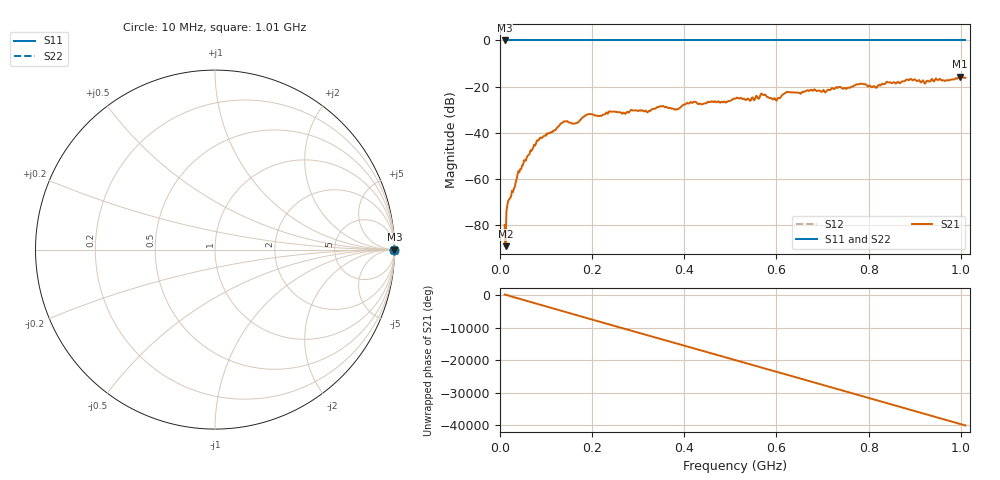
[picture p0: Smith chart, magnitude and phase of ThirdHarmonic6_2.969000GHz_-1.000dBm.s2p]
! 8/17/2025 8:24:07 AM
! C:\ANRITSUVNA\TEMP\TEMP.S2P
! CHANNEL.1
! TR.MEASUREMENT
! RAW.DATA
! RF.CORRECTION.OFF
! AVERAGING.OFF
! IF.BANDWIDTH: 5KHZ
! SWEEPTYPE:  FREQ.SWEEP(Linear)
! Reference Plane Port Info
! PORT:  PORT1  PORT2
! DISTANCE:  0  m  0  m
! TIME:  0  s  0  s
! PHASE.OFFSET:  0  deg.  0  deg.
! LOSS:  0  dB  0  dB
! REF.LOSS:  0  dB  0  dB
! REF.FREQ:  0  Hz  0  Hz
! Power Info
! POWER:  -20  dBm  -20  dBm
! EFF.POWER:  -20  dBm  -20  dBm
! SOURCE.ATTEN:  0  dB  0  dB
! TEST.ATTEN:  0  dB  0  dB
# GHZ S RI R 50.0
! FREQ.GHZ  S11RE  S11IM  S21RE  S21IM  S12RE  S12IM  S22RE  S22IM
!; PortSelection: Port_12
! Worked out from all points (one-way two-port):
!   501 points, 10 MHz to 1.01 GHz, reference 50 ohm
!   highest |S21| = -15.71 dB at 998 MHz (marker M1); lowest = -89.2 dB at 12 MHz (marker M2)
!   lowest |S11| = 0.0 dB at 10 MHz (marker M3)
!   |S11| at or under -10 dB: nowhere
!   |S22| runs from 0.0 to 0.0 dB; largest |S21 - S12| = 1.1
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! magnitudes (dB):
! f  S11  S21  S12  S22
! 10 MHz  0.0  -79.9  0.0  0.0
! 12 MHz  0.0  -89.2  0.0  0.0
! 18 MHz  0.0  -69.4  0.0  0.0
! 40 MHz  0.0  -56.6  0.0  0.0
! 84 MHz  0.0  -43.2  0.0  0.0
! 136 MHz  0.0  -35.6  0.0  0.0
! 164 MHz  0.0  -35.9  0.0  0.0
! 178 MHz  0.0  -33.6  0.0  0.0
! 344 MHz  0.0  -28.9  0.0  0.0
! 382 MHz  0.0  -29.8  0.0  0.0
! 410 MHz  0.0  -27.3  0.0  0.0
! 510 MHz  0.0  -25.2  0.0  0.0
! 548 MHz  0.0  -24.7  0.0  0.0
! 570 MHz  0.0  -23.5  0.0  0.0
! 596 MHz  0.0  -25.0  0.0  0.0
! 622 MHz  0.0  -22.4  0.0  0.0
! 678 MHz  0.0  -21.8  0.0  0.0
! 784 MHz  0.0  -18.7  0.0  0.0
! 814 MHz  0.0  -20.1  0.0  0.0
! 844 MHz  0.0  -18.3  0.0  0.0
! 998 MHz  0.0  -15.7  0.0  0.0
! 1.01 GHz  0.0  -16.2  0.0  0.0
